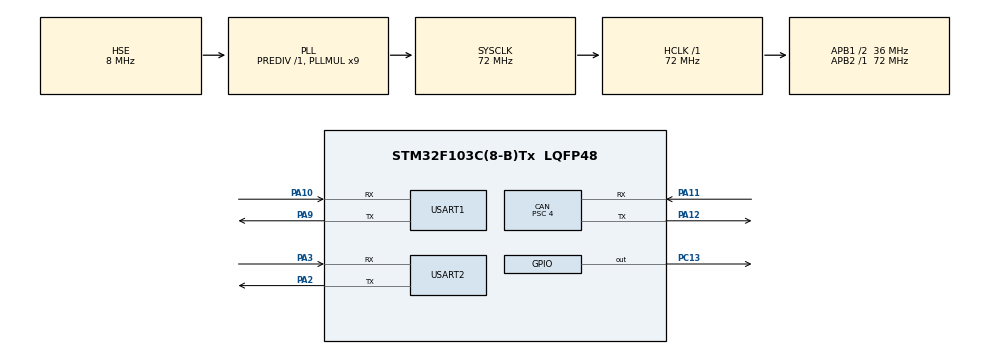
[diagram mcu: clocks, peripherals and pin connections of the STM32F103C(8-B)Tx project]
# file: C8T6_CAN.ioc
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CAN.BS1=CAN_BS1_9TQ
CAN.BS2=CAN_BS2_8TQ
CAN.CalculateBaudRate=500000
CAN.CalculateTimeBit=2000
CAN.CalculateTimeQuantum=111.11111111111111
CAN.Prescaler=4
Mcu.Family=STM32F1
Mcu.Name=STM32F103C(8-B)Tx
Mcu.Package=LQFP48
NVIC.PriorityGroup=NVIC_PRIORITYGROUP_4
NVIC.USART2_IRQn=true\:0\:0\:false\:false\:true\:true\:true\:true
PA10.Mode=Asynchronous
PA10.Signal=USART1_RX
PA11.Mode=CAN_Activate
PA11.Signal=CAN_RX
PA12.Mode=CAN_Activate
PA12.Signal=CAN_TX
PA13.Mode=Serial_Wire
PA13.Signal=SYS_JTMS-SWDIO
PA14.Mode=Serial_Wire
PA14.Signal=SYS_JTCK-SWCLK
PA2.Mode=Asynchronous
PA2.Signal=USART2_TX
PA3.Mode=Asynchronous
PA3.Signal=USART2_RX
PA9.Mode=Asynchronous
PA9.Signal=USART1_TX
PC13-TAMPER-RTC.Signal=GPIO_Output
PC14-OSC32_IN.Mode=LSE-External-Oscillator
PC14-OSC32_IN.Signal=RCC_OSC32_IN
PC15-OSC32_OUT.Mode=LSE-External-Oscillator
PC15-OSC32_OUT.Signal=RCC_OSC32_OUT
PD0-OSC_IN.Mode=HSE-External-Oscillator
PD0-OSC_IN.Signal=RCC_OSC_IN
PD1-OSC_OUT.Mode=HSE-External-Oscillator
PD1-OSC_OUT.Signal=RCC_OSC_OUT
ProjectManager.HeapSize=0x200
ProjectManager.StackSize=0x400
ProjectManager.TargetToolchain=MDK-ARM V5.32
RCC.AHBFreq_Value=72000000
RCC.APB1CLKDivider=RCC_HCLK_DIV2
RCC.APB1Freq_Value=36000000
RCC.APB1TimFreq_Value=72000000
RCC.APB2Freq_Value=72000000
RCC.APB2TimFreq_Value=72000000
RCC.HCLKFreq_Value=72000000
RCC.PLLMUL=RCC_PLL_MUL9
RCC.PLLSourceVirtual=RCC_PLLSOURCE_HSE
RCC.SYSCLKFreq_VALUE=72000000
RCC.SYSCLKSource=RCC_SYSCLKSOURCE_PLLCLK
RCC.USBFreq_Value=72000000
USART1.VirtualMode=VM_ASYNC
USART2.VirtualMode=VM_ASYNC
board=custom

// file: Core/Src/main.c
/* USER CODE BEGIN Header */
/**
  ******************************************************************************
  * @file           : main.c
  * @brief          : Main program body
  ******************************************************************************
  * @attention
  *
  * Copyright (c) 2026 STMicroelectronics.
  * All rights reserved.
  *
  * This software is licensed under terms that can be found in the LICENSE file
  * in the root directory of this software component.
  * If no LICENSE file comes with this software, it is provided AS-IS.
  *
  ******************************************************************************
  */
/* USER CODE END Header */
#include "main.h"
#include "can.h"
#include "usart.h"
#include "gpio.h"

/* USER CODE BEGIN Includes */

#include "canif.h"

/* USER CODE END Includes */

void SystemClock_Config(void);

/* USER CODE BEGIN 0 */

/* ========== UART 帧协议: AF + len + data[len] + FA, len = 2~5 ========== */
#define UART_FRAME_HEAD  0xAF
#define UART_FRAME_TAIL  0xFA

typedef struct {
    uint8_t rx_buf[16];    /* 接收缓冲区 */
    uint8_t rx_cnt;        /* 已收字节数 */
} uart_rx_t;

static uart_rx_t uart2_rx = {0};
static uint8_t   uart2_byte = 0;   /* 单字节 IT 接收的搬运格 */

/* ========== UART2 接收中断回调: 每收 1 字节进一次 ========== */
void HAL_UART_RxCpltCallback(UART_HandleTypeDef *huart)
{
    if (huart->Instance == USART2) {
        uart2_rx.rx_buf[uart2_rx.rx_cnt++] = uart2_byte;

        /* 1. 帧头校验: 首字节必须是 0xAF */
        if (uart2_rx.rx_buf[0] != UART_FRAME_HEAD) {
            uart2_rx.rx_cnt = 0;                       /* 丢弃, 重新等帧头 */
            printf("[ERR] head=0x%02X not AF\r\n", uart2_rx.rx_buf[0]);
        }
        /* 2. 防溢出 */
        else if (uart2_rx.rx_cnt >= sizeof(uart2_rx.rx_buf)) {
            uart2_rx.rx_cnt = 0;
            printf("[ERR] buffer overflow\r\n");
        }
        /* 3. 收满 3 字节后开始检查 len */
        else if (uart2_rx.rx_cnt > 2) {
            uint8_t data_len = uart2_rx.rx_buf[1];

            if (data_len < 2 || data_len > 5) {        /* len 必须 2~5 */
                uart2_rx.rx_cnt = 0;
                printf("[ERR] len=%d invalid\r\n", data_len);
            }
            /* 4. 收满: AF(1)+len(1)+data(len)+FA(1) = len+3 字节 */
            else if (uart2_rx.rx_cnt >= data_len + 3) {
                if (uart2_rx.rx_buf[data_len + 2] == UART_FRAME_TAIL) {
                    /* 组 CAN 帧: 8 字节, 首字节 AF, 后跟 data, 不足补 0 */
                    uint8_t can_tx[8] = {0};
                    can_tx[0] = 0xAF;
                    for (uint8_t i = 0; i < data_len; i++)
                        can_tx[i + 1] = uart2_rx.rx_buf[i + 2];

                    if (Can_Send_Msg(0x0B4, 8, can_tx) == 0) {
                        printf("[CAN] OK: ");
                        for (int i = 0; i < 8; i++) printf("%02X ", can_tx[i]);
                        printf("\r\n");
                    } else {
                        printf("[ERR] can send fail\r\n");
                    }
                } else {
                    printf("[ERR] tail=0x%02X\r\n", uart2_rx.rx_buf[data_len + 2]);
                }
                uart2_rx.rx_cnt = 0;                   /* 复位, 等下一帧 */
            }
        }
        /* 5. 重新挂接收, 忘了这行中断就一次性了 */
        HAL_UART_Receive_IT(&huart2, &uart2_byte, 1);
    }
}

/* USER CODE END 0 */

int main(void)
{

  /* MCU Configuration--------------------------------------------------------*/

  /* Reset of all peripherals, Initializes the Flash interface and the Systick. */
  HAL_Init();

  /* Configure the system clock */
  SystemClock_Config();

  /* Initialize all configured peripherals */
  MX_GPIO_Init();
  MX_CAN_Init();
  MX_USART1_UART_Init();
  MX_USART2_UART_Init();
  /* USER CODE BEGIN 2 */

  Can_Filter_Init();          /* CAN 过滤器 + 启动 */
  HAL_UART_Receive_IT(&huart2, &uart2_byte, 1);   /* 挂 UART2 中断接收 */
  printf("==== 29C8T6 Send OK ====\r\n");
  /* USER CODE END 2 */

  /* Infinite loop */
  while (1)
  {

    /* USER CODE BEGIN 3 */
    HAL_Delay(10);            /* 数据收发全在 UART2 中断里, 主循环空转 */
  }
  /* USER CODE END 3 */
}

void SystemClock_Config(void)
{
  RCC_OscInitTypeDef RCC_OscInitStruct = {0};
  RCC_ClkInitTypeDef RCC_ClkInitStruct = {0};

  /** Initializes the RCC Oscillators according to the specified parameters
  * in the RCC_OscInitTypeDef structure.
  */
  RCC_OscInitStruct.OscillatorType = RCC_OSCILLATORTYPE_HSE;
  RCC_OscInitStruct.HSEState = RCC_HSE_ON;
  RCC_OscInitStruct.HSEPredivValue = RCC_HSE_PREDIV_DIV1;
  RCC_OscInitStruct.HSIState = RCC_HSI_ON;
  RCC_OscInitStruct.PLL.PLLState = RCC_PLL_ON;
  RCC_OscInitStruct.PLL.PLLSource = RCC_PLLSOURCE_HSE;
  RCC_OscInitStruct.PLL.PLLMUL = RCC_PLL_MUL9;
  if (HAL_RCC_OscConfig(&RCC_OscInitStruct) != HAL_OK)
  {
    Error_Handler();
  }

  /** Initializes the CPU, AHB and APB buses clocks
  */
  RCC_ClkInitStruct.ClockType = RCC_CLOCKTYPE_HCLK|RCC_CLOCKTYPE_SYSCLK
                              |RCC_CLOCKTYPE_PCLK1|RCC_CLOCKTYPE_PCLK2;
  RCC_ClkInitStruct.SYSCLKSource = RCC_SYSCLKSOURCE_PLLCLK;
  RCC_ClkInitStruct.AHBCLKDivider = RCC_SYSCLK_DIV1;
  RCC_ClkInitStruct.APB1CLKDivider = RCC_HCLK_DIV2;
  RCC_ClkInitStruct.APB2CLKDivider = RCC_HCLK_DIV1;

  if (HAL_RCC_ClockConfig(&RCC_ClkInitStruct, FLASH_LATENCY_2) != HAL_OK)
  {
    Error_Handler();
  }
}

void Error_Handler(void)
{
  __disable_irq();
  while (1)
  {
  }
}
